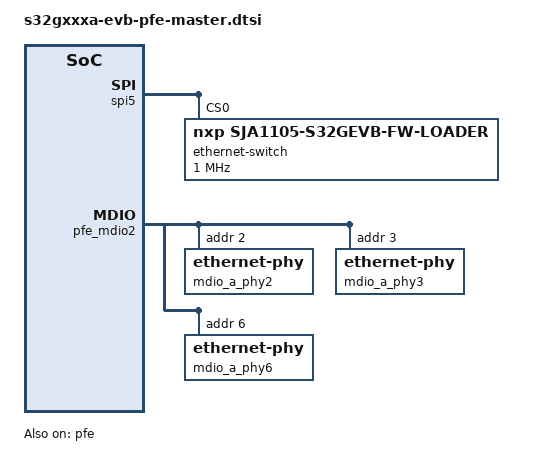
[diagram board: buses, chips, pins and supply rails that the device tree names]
// SPDX-License-Identifier: (GPL-2.0+ OR BSD-3-Clause)
/*
 * Copyright 2025 NXP
 */

&spi5 {
	pinctrl-0 = <&dspi5_pins>;
	pinctrl-names = "default";
	status = "okay";

	ethernet-switch@0 {
		compatible = "nxp,sja1105-s32gevb-fw-loader";
		spi-max-frequency = <1000000>;
		reg = <0>;
		spi-cpha;
	};
};

&pfe {
	status = "okay";
	pinctrl-0 = <&pfe2_mdio_pins>, <&pfe2_pins>;
	pinctrl-1 = <&pfe2_mdio_pins>;
	pinctrl-names = "default", "pfe_sgmii";
};

&pfe_mdio0 {
	/* used by USB ULPI */
	status = "disabled";
};

&pfe_mdio1 {
	/* unused */
	status = "disabled";
};

&pfe_mdio2 {
	#address-cells = <1>;
	#size-cells = <0>;
	/* KSZ9031RNX over SJA1105Q P3 */
	mdio_a_phy2: ethernet-phy@2 {
		reg = <2>;
	};
	/* KSZ9031RNX over SJA1105Q P4 */
	mdio_a_phy3: ethernet-phy@3 {
		reg = <3>;
	};

	/* TJA1102 over SJA1105Q P1 */
	mdio_a_phy6: ethernet-phy@6 {
		#address-cells = <1>;
		#size-cells = <0>;
		reg = <6>;

		/* TJA1102 over SJA1105Q P2 */
		mdio_a_phy7: ethernet-phy@7 {
			reg = <7>;
		};
	};
};

&pfe_netif1 {
	phy-mode = "sgmii";
	phy-handle = <&mdio_c_phy1>;
	fixed-link {
		speed = <1000>;
		full-duplex;
	};
};

&pfe_netif2 {
	phy-mode = "rgmii";
	fixed-link {
		speed = <1000>;
		full-duplex;
	};
};
